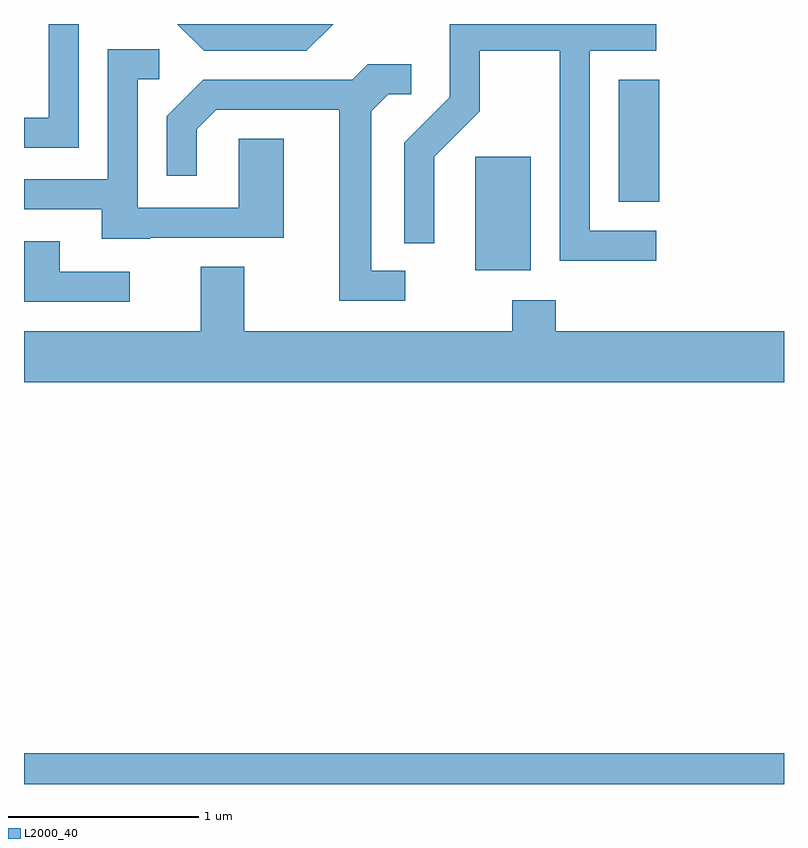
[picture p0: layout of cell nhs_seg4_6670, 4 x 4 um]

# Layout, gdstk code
import gdstk
lib = gdstk.Library(unit=1e-6, precision=1e-09)
def R(c, l, rs):  # rectangles x0, y0, x1, y1
    for r in rs: c.add(gdstk.rectangle(r[:2], r[2:], *l))
def P(c, l, *ps):  # polygons
    for p in ps: c.add(gdstk.Polygon(p, *l))
L2000_40 = (2000, 40)

nhs_seg4_6670 = lib.new_cell('nhs_seg4_6670')
R(nhs_seg4_6670, L2000_40, [(381.611,1265.982,385.611,1266.144), (383.986,1268.686,384.279,1269.284), (384.741,1269.046,384.954,1269.689)])
P(nhs_seg4_6670, L2000_40, [(381.899,1269.982),(381.741,1269.982),(381.741,1269.489),(381.611,1269.489),(381.611,1269.331),(381.899,1269.331)],
  [(383.238,1269.982),(382.418,1269.982),(382.559,1269.841),(383.097,1269.841)],
  [(384.938,1268.894),(384.589,1268.894),(384.589,1269.841),(384.938,1269.841),(384.938,1269.982),(383.851,1269.982),(383.851,1269.597),(383.611,1269.357),(383.611,1268.828),(383.769,1268.828),(383.769,1269.284),(384.009,1269.524),(384.009,1269.841),(384.431,1269.841),(384.431,1268.736),(384.938,1268.736)],
  [(382.275,1268.856),(382.979,1268.856),(382.979,1269.379),(382.741,1269.379),(382.741,1269.014),(382.209,1269.014),(382.209,1269.691),(382.323,1269.691),(382.323,1269.849),(382.051,1269.849),(382.051,1269.164),(381.611,1269.164),(381.611,1269.006),(382.021,1269.006),(382.021,1268.851),(382.275,1268.851)],
  [(383.618,1268.684),(383.439,1268.684),(383.439,1269.524),(383.527,1269.611),(383.648,1269.611),(383.648,1269.769),(383.419,1269.769),(383.339,1269.689),(382.554,1269.689),(382.361,1269.497),(382.361,1269.183),(382.519,1269.183),(382.519,1269.429),(382.622,1269.531),(383.271,1269.531),(383.271,1268.526),(383.618,1268.526)],
  [(382.168,1268.679),(381.799,1268.679),(381.799,1268.839),(381.611,1268.839),(381.611,1268.521),(382.168,1268.521)],
  [(385.611,1268.364),(384.409,1268.364),(384.409,1268.529),(384.181,1268.529),(384.181,1268.364),(382.769,1268.364),(382.769,1268.704),(382.541,1268.704),(382.541,1268.364),(381.611,1268.364),(381.611,1268.096),(385.611,1268.096)])

lib.write_gds('nhs_seg4_6670.gds')
